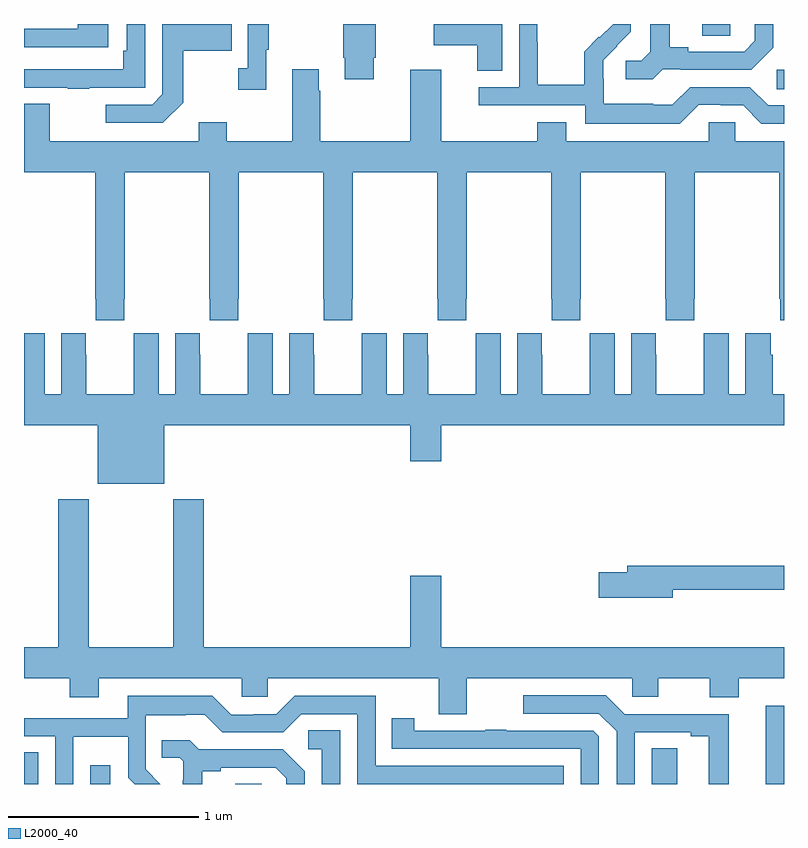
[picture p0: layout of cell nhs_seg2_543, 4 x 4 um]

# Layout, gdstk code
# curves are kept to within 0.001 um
import gdstk
lib = gdstk.Library(unit=1e-6, precision=1e-09)
def R(c, l, rs):  # rectangles x0, y0, x1, y1
    for r in rs: c.add(gdstk.rectangle(r[:2], r[2:], *l))
def P(c, l, *ps):  # polygons
    for p in ps: c.add(gdstk.Polygon(p, *l))
L2000_40 = (2000, 40)

nhs_seg2_543 = lib.new_cell('nhs_seg2_543')
R(nhs_seg2_543, L2000_40, [(139,593.8,139.075,593.966), (139.349,593.8,139.453,593.899), (140.111,593.8,140.25,593.801), (142.304,593.8,142.438,593.987), (142.904,593.8,143,594.211), (142.962,597.457,143,597.558), (142.571,597.739,142.716,597.8)])
P(nhs_seg2_543, L2000_40, [(142.551,597.375),(142.667,597.375),(142.667,597.372),(142.785,597.372),(142.881,597.276),(143,597.276),(143,597.372),(142.917,597.372),(142.821,597.468),(142.506,597.468),(142.413,597.375),(142.313,597.375),(142.313,597.379),(142.05,597.379),(142.05,597.513),(142.048,597.513),(142.048,597.61),(142.194,597.758),(142.194,597.8),(142.1,597.8),(142.029,597.729),(142.026,597.732),(141.949,597.655),(141.949,597.481),(141.705,597.481),(141.705,597.704),(141.702,597.704),(141.702,597.8),(141.606,597.8),(141.606,597.468),(141.393,597.468),(141.393,597.372),(141.954,597.372),(141.954,597.275),(142.451,597.275)],
  [(139.837,597.385),(139.837,597.658),(140.093,597.658),(140.093,597.8),(139.728,597.8),(139.728,597.429),(139.674,597.375),(139.431,597.375),(139.431,597.279),(139.731,597.279)],
  [(142.362,597.561),(142.456,597.561),(142.456,597.558),(142.828,597.558),(142.944,597.674),(142.944,597.8),(142.847,597.8),(142.847,597.711),(142.79,597.654),(142.495,597.654),(142.495,597.677),(142.399,597.677),(142.399,597.8),(142.295,597.8),(142.295,597.653),(142.248,597.606),(142.167,597.606),(142.167,597.509),(142.31,597.509)],
  [(139.343,597.465),(139.638,597.465),(139.638,597.8),(139.542,597.8),(139.542,597.658),(139.522,597.658),(139.522,597.561),(139,597.561),(139,597.465),(139.231,597.465),(139.231,597.46),(139.343,597.46)],
  [(140.275,597.665),(140.287,597.665),(140.287,597.8),(140.178,597.8),(140.178,597.566),(140.127,597.566),(140.127,597.453),(140.275,597.453)],
  [(140.842,597.622),(140.85,597.622),(140.85,597.8),(140.68,597.8),(140.68,597.622),(140.687,597.622),(140.687,597.51),(140.842,597.51)],
  [(139.444,597.8),(139.283,597.8),(139.283,597.774),(139,597.774),(139,597.678),(139.444,597.678)],
  [(141.517,597.8),(141.156,597.8),(141.156,597.689),(141.386,597.689),(141.386,597.553),(141.517,597.553)],
  [(141.853,597.283),(141.701,597.283),(141.701,597.184),(141.196,597.184),(141.196,597.559),(141.032,597.559),(141.032,597.184),(140.559,597.184),(140.559,597.449),(140.551,597.449),(140.551,597.562),(140.411,597.562),(140.411,597.184),(140.067,597.184),(140.067,597.283),(139.919,597.283),(139.919,597.184),(139.135,597.184),(139.135,597.379),(139,597.379),(139,597.02),(139.375,597.02),(139.375,596.353),(139.377,596.353),(139.377,596.241),(139.527,596.241),(139.527,596.353),(139.53,596.353),(139.53,597.02),(139.975,597.02),(139.975,596.353),(139.977,596.353),(139.977,596.241),(140.127,596.241),(140.127,596.353),(140.13,596.353),(140.13,597.02),(140.575,597.02),(140.575,596.353),(140.577,596.353),(140.577,596.241),(140.727,596.241),(140.727,596.353),(140.73,596.353),(140.73,597.02),(141.175,597.02),(141.175,596.353),(141.177,596.353),(141.177,596.241),(141.327,596.241),(141.327,596.353),(141.33,596.353),(141.33,597.02),(141.775,597.02),(141.775,596.353),(141.777,596.353),(141.777,596.241),(141.927,596.241),(141.927,596.353),(141.93,596.353),(141.93,597.02),(142.375,597.02),(142.375,596.353),(142.377,596.353),(142.377,596.241),(142.527,596.241),(142.527,596.353),(142.53,596.353),(142.53,597.02),(142.975,597.02),(142.975,596.353),(142.981,596.353),(142.981,596.241),(143,596.241),(143,597.184),(142.743,597.184),(142.743,597.282),(142.605,597.282),(142.605,597.184),(141.853,597.184)],
  [(139.738,595.688),(141.032,595.688),(141.032,595.5),(141.196,595.5),(141.196,595.688),(143,595.688),(143,595.852),(142.94,595.852),(142.94,596.06),(142.93,596.06),(142.93,596.173),(142.796,596.173),(142.796,595.852),(142.708,595.852),(142.708,596.173),(142.578,596.173),(142.578,596.06),(142.577,596.06),(142.577,595.852),(142.327,595.852),(142.327,596.06),(142.326,596.06),(142.326,596.173),(142.196,596.173),(142.196,595.852),(142.108,595.852),(142.108,596.173),(141.978,596.173),(141.978,596.06),(141.977,596.06),(141.977,595.852),(141.727,595.852),(141.727,596.06),(141.726,596.06),(141.726,596.173),(141.596,596.173),(141.596,595.852),(141.508,595.852),(141.508,596.173),(141.378,596.173),(141.378,596.06),(141.377,596.06),(141.377,595.852),(141.127,595.852),(141.127,596.06),(141.126,596.06),(141.126,596.173),(140.996,596.173),(140.996,595.852),(140.908,595.852),(140.908,596.173),(140.778,596.173),(140.778,596.06),(140.777,596.06),(140.777,595.852),(140.527,595.852),(140.527,596.06),(140.526,596.06),(140.526,596.173),(140.396,596.173),(140.396,595.852),(140.308,595.852),(140.308,596.173),(140.178,596.173),(140.178,596.06),(140.177,596.06),(140.177,595.852),(139.927,595.852),(139.927,596.06),(139.926,596.06),(139.926,596.173),(139.796,596.173),(139.796,595.852),(139.708,595.852),(139.708,596.173),(139.578,596.173),(139.578,596.06),(139.577,596.06),(139.577,595.852),(139.327,595.852),(139.327,596.06),(139.326,596.06),(139.326,596.173),(139.196,596.173),(139.196,595.852),(139.108,595.852),(139.108,596.173),(139,596.173),(139,595.688),(139.388,595.688),(139.388,595.379),(139.738,595.379)],
  [(141.331,594.356),(142.2,594.356),(142.2,594.258),(142.339,594.258),(142.339,594.356),(142.61,594.356),(142.61,594.257),(142.763,594.257),(142.763,594.356),(143,594.356),(143,594.52),(141.196,594.52),(141.196,594.895),(141.032,594.895),(141.032,594.52),(139.946,594.52),(139.946,595.3),(139.786,595.3),(139.786,594.52),(139.341,594.52),(139.341,595.3),(139.181,595.3),(139.181,594.52),(139,594.52),(139,594.356),(139.241,594.356),(139.241,594.257),(139.393,594.257),(139.393,594.356),(140.145,594.356),(140.145,594.258),(140.283,594.258),(140.283,594.356),(141.184,594.356),(141.184,594.166),(141.331,594.166)],
  [(142.414,594.822),(143,594.822),(143,594.95),(142.175,594.95),(142.175,594.914),(142.026,594.914),(142.026,594.779),(142.414,594.779)],
  [(142.215,594.072),(142.508,594.072),(142.508,594.052),(142.604,594.052),(142.604,593.8),(142.708,593.8),(142.708,594.168),(142.162,594.168),(142.063,594.267),(141.627,594.267),(141.627,594.171),(142.026,594.171),(142.119,594.078),(142.119,593.8),(142.215,593.8)],
  [(139.26,594.05),(139.548,594.05),(139.548,593.834),(139.582,593.8),(139.718,593.8),(139.641,593.877),(139.641,594.161),(139.85,594.161),(139.85,594.165),(139.95,594.165),(140.043,594.072),(140.364,594.072),(140.46,594.168),(140.754,594.168),(140.754,593.8),(141.84,593.8),(141.84,593.895),(140.85,593.895),(140.85,594.264),(140.424,594.264),(140.328,594.168),(140.208,594.168),(140.208,594.165),(140.091,594.165),(139.991,594.265),(139.547,594.265),(139.547,594.147),(139,594.147),(139,594.051),(139.164,594.051),(139.164,593.8),(139.26,593.8)],
  [(142.026,594.051),(141.996,594.081),(141.539,594.081),(141.539,594.086),(141.427,594.086),(141.427,594.081),(141.054,594.081),(141.054,594.145),(140.935,594.145),(140.935,593.985),(141.93,593.985),(141.93,593.8),(142.026,593.8)],
  [(140.664,594.083),(140.496,594.083),(140.496,593.982),(140.568,593.982),(140.568,593.8),(140.664,593.8)],
  [(139.939,593.866),(140.035,593.866),(140.035,593.886),(140.324,593.886),(140.381,593.829),(140.381,593.8),(140.478,593.8),(140.478,593.866),(140.362,593.982),(139.92,593.982),(139.872,594.029),(139.726,594.029),(139.726,593.937),(139.821,593.937),(139.839,593.919),(139.839,593.819),(139.835,593.819),(139.835,593.8),(139.939,593.8)])

lib.write_gds('nhs_seg2_543.gds')
